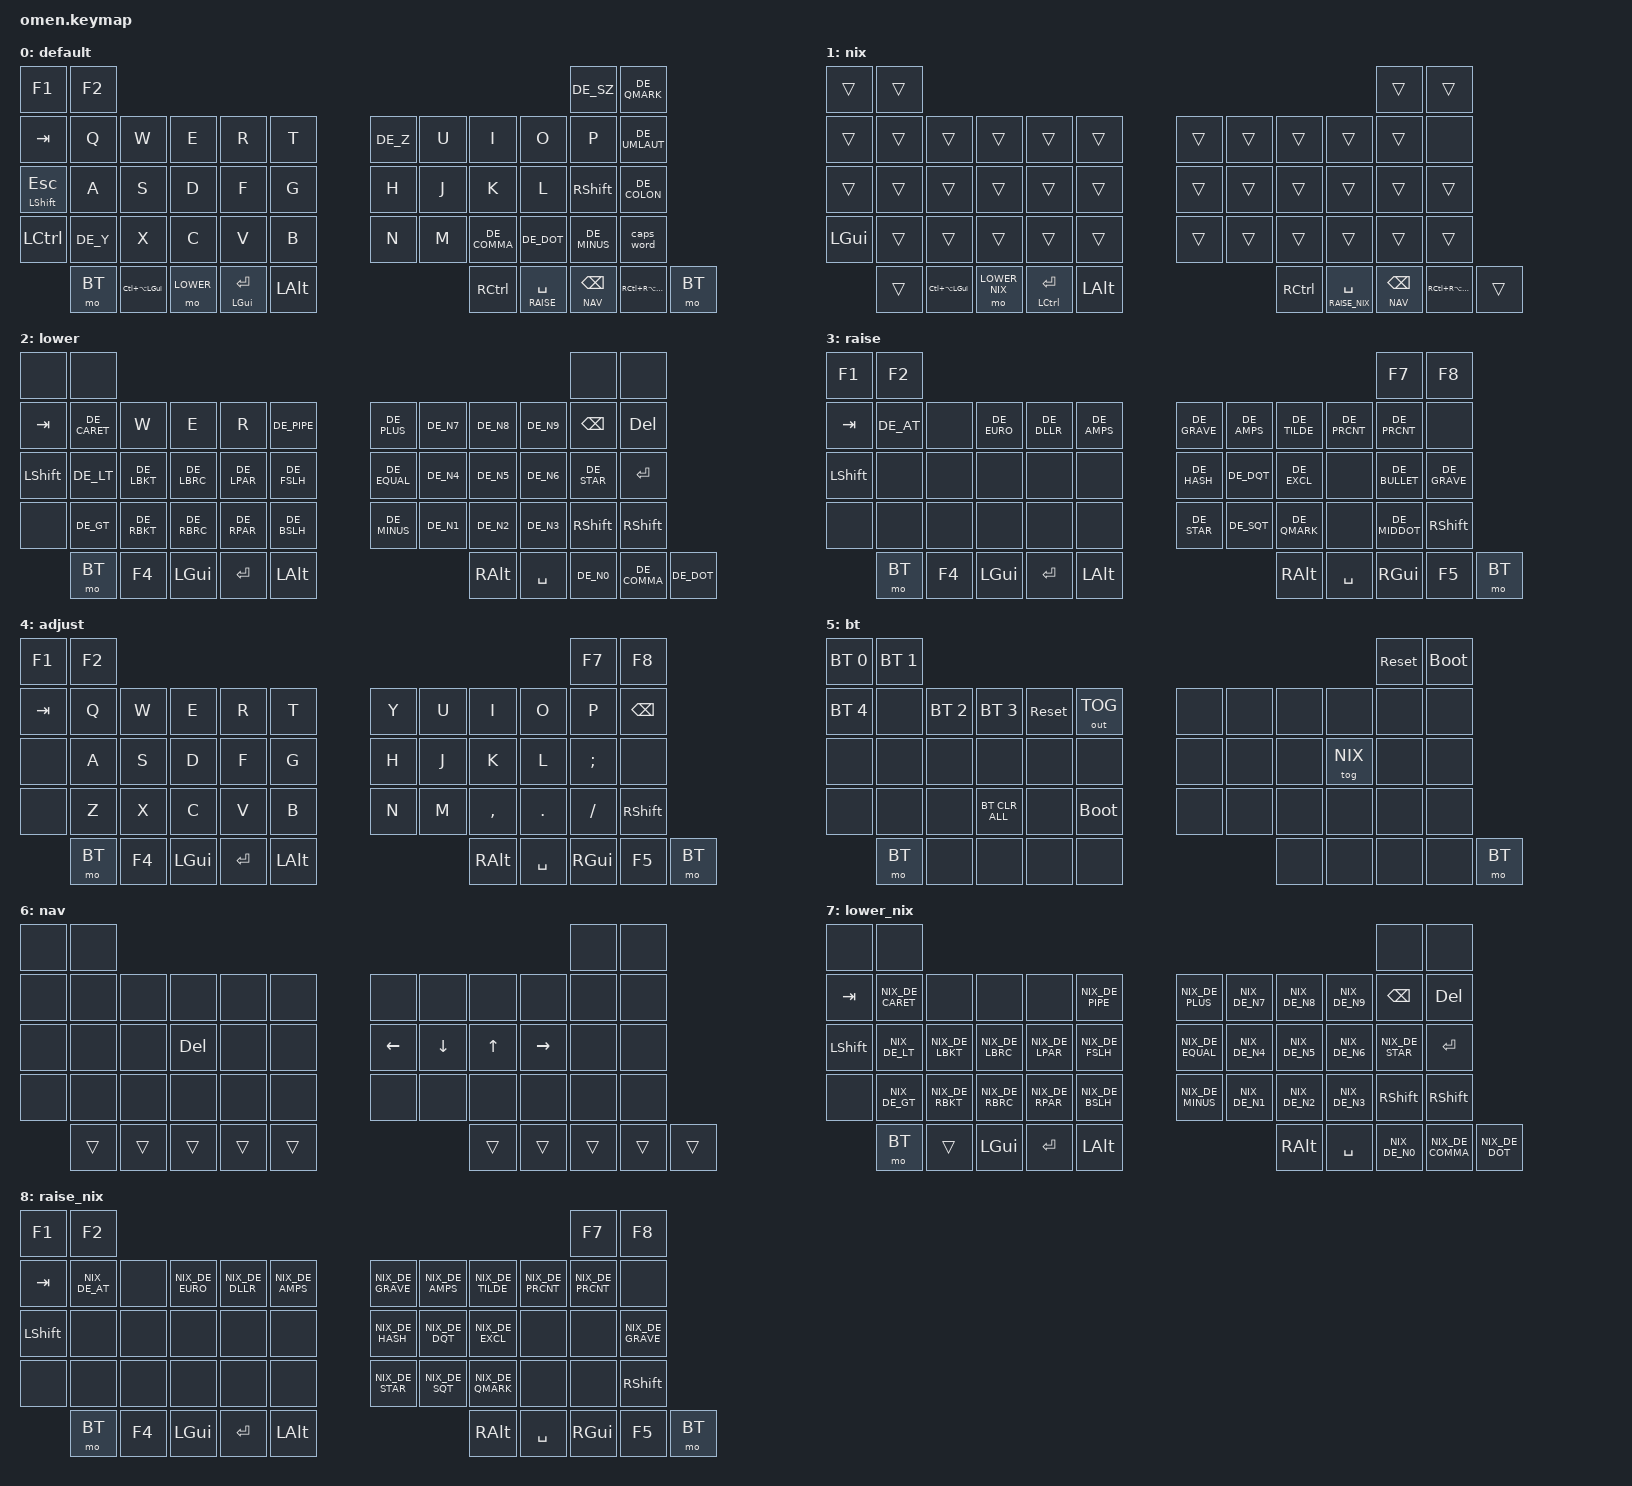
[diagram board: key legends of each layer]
/*
 * Copyright (c) 2024 The ZMK Contributors
 *
 * SPDX-License-Identifier: MIT
 */

#include <behaviors.dtsi>
#include <dt-bindings/zmk/keys.h>
#include <dt-bindings/zmk/bt.h>
#include <dt-bindings/zmk/rgb.h>
#include <dt-bindings/zmk/ext_power.h>
#include <dt-bindings/zmk/outputs.h>

#include "keys_de_osx.h"
#include "keys_de_nix.h"

#define BASE 0
#define NIX 1
#define LOWER 2
#define RAISE 3
#define ADJUST 4
#define BT 5
#define NAV 6
#define LOWER_NIX 7
#define RAISE_NIX 8

/ {
	behaviors {
        qht: quick_hold_tap {
            compatible = "zmk,behavior-hold-tap";
            #binding-cells = <2>;
            flavor = "balanced";
            tapping-term-ms = <400>;
            quick-tap-ms = <200>;
            bindings = <&kp>, <&kp>;
        };
        qlt: quick_layer_tap {
            compatible = "zmk,behavior-hold-tap";
            #binding-cells = <2>;
            flavor = "balanced";
            tapping-term-ms = <300>;
            quick-tap-ms = <200>;
            bindings = <&mo>, <&kp>;
        };
        ht_tp: hold-tap_tap-preferred {
            compatible = "zmk,behavior-hold-tap";
            #binding-cells = <2>;
            flavor = "tap-preferred";
            tapping-term-ms = <200>;
            quick-tap-ms = <200>;
            bindings = <&kp>, <&kp>;
        };
    };

   // Activate ADJUST layer by pressing raise and lower
    conditional_layers {
        compatible = "zmk,conditional-layers";
        adjust_layer {
            if-layers = <LOWER RAISE>;
            then-layer = <ADJUST>;
        };
    };

    keymap {
        compatible = "zmk,keymap";

        default_layer {
            display-name = "default";
// ------------------------------------------------------------------------------------------------------------
                                                                                                               
// |  F1   |  F2 |                                                                   |  F7 |  F8  |
// |  ESC  |  Q  |  W  |  E  |  R  |  T  |                   |  Y  |  U  |  I  |  O  |  P  |  F9  |
// |  TAB  |  A  |  S  |  D  |  F  |  G  |                   |  H  |  J  |  K  |  L  |  ;  |  F10 |
// | SHIFT |  Z  |  X  |  C  |  V  |  B  |                   |  N  |  M  |  ,  |  .  |  -  |  F11 |
//         |  F3 |  F4 |     | OPT | RET | CMD |       | CMD |SPACE| OPT |     |  F5 |  F6 |       
            bindings = <
   &kp F1     &kp F2                                                                                                       &kp DE_SZ  &kp DE_QMARK  
//                                                       ___________|___________       
   &kp TAB           &kp Q    &kp W   &kp E   &kp R    &kp T                    &kp DE_Z  &kp U    &kp I        &kp O      &kp P        &kp DE_UMLAUT 
   &ht_tp LSHIFT ESC &kp A    &kp S   &kp D   &kp F    &kp G                    &kp H     &kp J    &kp K        &kp L      &kp RSHIFT   &kp DE_COLON  
   &kp LCTRL         &kp DE_Y &kp X   &kp C   &kp V    &kp B                    &kp N     &kp M    &kp DE_COMMA &kp DE_DOT &kp DE_MINUS &caps_word  
//                                |                      -----------|-----------                              |
                 &mo BT  &kp LC(LA(LGUI))       &mo LOWER &mt LGUI RET &kp LALT       &kp RCTRL  &qlt RAISE SPACE &qlt NAV BSPC  &kp RC(RA(RGUI)) &mo BT   
//                                |                                 |                                         |                     
            >;
        };

        nix_layer {
        // only define the keys that differ from the macos BASE layer above; also used to change the layers the momentary layer keys activate(from RAISE to RAISE_NIX)
            display-name = "nix";
            bindings = <
   &trans     &trans                                                                                                 &trans  &trans  
   &trans    &trans   &trans  &trans  &trans   &trans                               &trans  &trans   &trans  &trans  &trans  &none 
   &trans    &trans   &trans  &trans  &trans   &trans                               &trans  &trans   &trans  &trans  &trans  &trans
   &kp LGUI  &trans   &trans  &trans  &trans   &trans                               &trans  &trans   &trans  &trans  &trans  &trans  
  &trans   &kp LC(LA(LGUI))       &mo LOWER_NIX &mt LCTRL RET &kp LALT       &kp RCTRL  &qlt RAISE_NIX SPACE &qlt NAV BSPC  &kp RC(RA(RGUI)) &trans    
            >;
        };


        lower_layer {
            display-name = "lower";
            bindings = <
   &none      &none                                                                                                              &none   &none  
   &kp TAB    &kp DE_CARET &kp W       &kp E       &kp R       &kp DE_PIPE        &kp DE_PLUS  &kp DE_N7 &kp DE_N8 &kp DE_N9 &kp BSPC    &kp DEL  
   &kp LSHIFT &kp DE_LT    &kp DE_LBKT &kp DE_LBRC &kp DE_LPAR &kp DE_FSLH        &kp DE_EQUAL &kp DE_N4 &kp DE_N5 &kp DE_N6 &kp DE_STAR &kp RET 
   &none      &kp DE_GT    &kp DE_RBKT &kp DE_RBRC &kp DE_RPAR &kp DE_BSLH        &kp DE_MINUS &kp DE_N1 &kp DE_N2 &kp DE_N3 &kp RSHIFT  &kp RSHIFT  

                                 &mo BT  &kp F4  &kp LGUI &kp RET &kp LALT        &kp RALT  &kp SPACE &kp DE_N0     &kp DE_COMMA    &kp DE_DOT   

            >;
        };

        raise_layer {
            display-name = "raise";
            bindings = <
   &kp F1     &kp F2                                                                                                        &kp F7   &kp F8  
   &kp TAB    &kp DE_AT   &none      &kp DE_EURO &kp DE_DLLR  &kp DE_AMPS         &kp DE_GRAVE &kp DE_AMPS &kp DE_TILDE &kp DE_PRCNT &kp DE_PRCNT  &none
   &kp LSHIFT &none       &none      &none       &none        &none               &kp DE_HASH  &kp DE_DQT  &kp DE_EXCL  &none        &kp DE_BULLET &kp DE_GRAVE  
   &none      &none       &none      &none       &none        &none               &kp DE_STAR  &kp DE_SQT  &kp DE_QMARK &none        &kp DE_MIDDOT &kp RSHIFT  

             &mo BT  &kp F4  &kp LGUI &kp RET &kp LALT                             &kp RALT  &kp SPACE &kp RGUI &kp F5    &mo BT   
            >;
        };

        adjust_layer {
        // unused
            display-name = "adjust";
            bindings = <
   &kp F1     &kp F2                                                                                                        &kp F7   &kp F8  
   &kp TAB    &kp Q   &kp W   &kp E   &kp R    &kp T                                &kp Y     &kp U    &kp I     &kp O      &kp P    &kp BSPC  
   &none      &kp A   &kp S   &kp D   &kp F    &kp G                                &kp H     &kp J    &kp K     &kp L      &kp SEMI &none  
   &none      &kp Z   &kp X   &kp C   &kp V    &kp B                                &kp N     &kp M    &kp COMMA &kp PERIOD &kp FSLH &kp RSHIFT  

                      &mo BT  &kp F4  &kp LGUI &kp RET &kp LALT           &kp RALT  &kp SPACE &kp RGUI &kp F5    &mo BT   
            >;
        };

        bt_layer {
            display-name = "bt";
            bindings = <
   &bt BT_SEL 0 &bt BT_SEL 1                                                                                     &sys_reset   &bootloader  
   &bt BT_SEL 4 &none  &bt BT_SEL 2 &bt BT_SEL 3   &sys_reset &out OUT_TOG             &none   &none   &none   &none    &none   &none   
   &none        &none  &none        &none          &none      &none                    &none   &none   &none   &tog NIX &none   &none   
   &none        &none  &none        &bt BT_CLR_ALL &none      &bootloader              &none   &none   &none   &none    &none   &none   
                  &mo BT  &none             &none    &none    &none              &none    &none    &none         &none    &mo BT   
            >;
        };

        navigation_layer {
            display-name = "nav";
            bindings = <
   &none     &none                                                                                                        &none   &none  
   &none     &none   &none   &none   &none    &none                    &none    &none    &none  &none     &none    &none  
   &none     &none   &none   &kp DEL &none    &none                    &kp LEFT &kp DOWN &kp UP &kp RIGHT &none    &none
   &none     &none   &none   &none   &none    &none                    &none    &none    &none  &none     &none    &none  
                      &trans  &trans  &trans &trans &trans           &trans  &trans &trans &trans    &trans   
            >;
        };

        lower_nix_layer {
            display-name = "lower_nix";
            bindings = <
   &none      &none                                                                                                              &none   &none  
   &kp TAB    &kp NIX_DE_CARET &none           &none           &none           &kp NIX_DE_PIPE    &kp NIX_DE_PLUS  &kp NIX_DE_N7 &kp NIX_DE_N8 &kp NIX_DE_N9 &kp BSPC        &kp DEL  
   &kp LSHIFT &kp NIX_DE_LT    &kp NIX_DE_LBKT &kp NIX_DE_LBRC &kp NIX_DE_LPAR &kp NIX_DE_FSLH    &kp NIX_DE_EQUAL &kp NIX_DE_N4 &kp NIX_DE_N5 &kp NIX_DE_N6 &kp NIX_DE_STAR &kp RET 
   &none      &kp NIX_DE_GT    &kp NIX_DE_RBKT &kp NIX_DE_RBRC &kp NIX_DE_RPAR &kp NIX_DE_BSLH    &kp NIX_DE_MINUS &kp NIX_DE_N1 &kp NIX_DE_N2 &kp NIX_DE_N3 &kp RSHIFT      &kp RSHIFT  
                                 &mo BT  &trans  &kp LGUI &kp RET &kp LALT                          &kp RALT  &kp SPACE &kp NIX_DE_N0     &kp NIX_DE_COMMA    &kp NIX_DE_DOT   

            >;
        };

        raise_nix_layer {
            display-name = "raise_nix";
            bindings = <
   &kp F1     &kp F2                                                                                                        &kp F7   &kp F8  
   &kp TAB    &kp NIX_DE_AT &none &kp NIX_DE_EURO &kp NIX_DE_DLLR  &kp NIX_DE_AMPS     &kp NIX_DE_GRAVE &kp NIX_DE_AMPS &kp NIX_DE_TILDE &kp NIX_DE_PRCNT &kp NIX_DE_PRCNT  &none
   &kp LSHIFT &none         &none &none           &none            &none               &kp NIX_DE_HASH  &kp NIX_DE_DQT  &kp NIX_DE_EXCL  &none       &none &kp NIX_DE_GRAVE  
   &none      &none         &none &none           &none            &none               &kp NIX_DE_STAR  &kp NIX_DE_SQT  &kp NIX_DE_QMARK     &none            &none &kp RSHIFT  
                    &mo BT  &kp F4  &kp LGUI &kp RET &kp LALT                                      &kp RALT  &kp SPACE &kp RGUI &kp F5    &mo BT   
            >;
        };

    };
};
